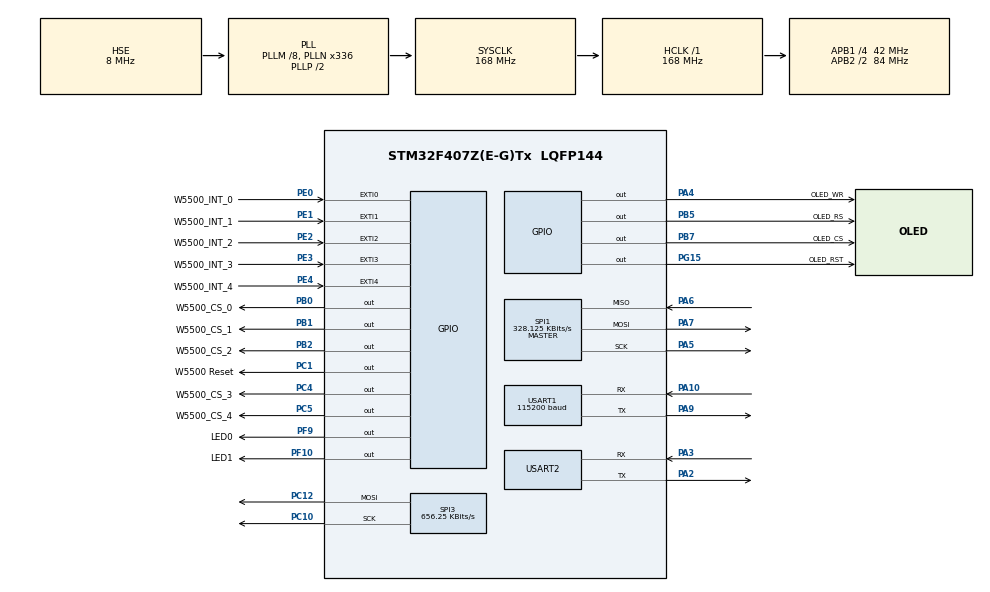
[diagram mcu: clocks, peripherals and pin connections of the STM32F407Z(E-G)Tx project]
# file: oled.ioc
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Dma.Request0=USART1_TX
Dma.Request1=SPI1_RX
Dma.Request2=SPI1_TX
Dma.Request3=USART1_RX
Dma.SPI1_RX.1.Channel=DMA_CHANNEL_3
Dma.SPI1_RX.1.Direction=DMA_PERIPH_TO_MEMORY
Dma.SPI1_RX.1.FIFOMode=DMA_FIFOMODE_DISABLE
Dma.SPI1_RX.1.FIFOThreshold=DMA_FIFO_THRESHOLD_FULL
Dma.SPI1_RX.1.Instance=DMA2_Stream0
Dma.SPI1_RX.1.MemBurst=DMA_MBURST_SINGLE
Dma.SPI1_RX.1.MemDataAlignment=DMA_MDATAALIGN_BYTE
Dma.SPI1_RX.1.MemInc=DMA_MINC_ENABLE
Dma.SPI1_RX.1.Mode=DMA_NORMAL
Dma.SPI1_RX.1.PeriphBurst=DMA_PBURST_SINGLE
Dma.SPI1_RX.1.PeriphDataAlignment=DMA_PDATAALIGN_BYTE
Dma.SPI1_RX.1.PeriphInc=DMA_PINC_DISABLE
Dma.SPI1_RX.1.Priority=DMA_PRIORITY_LOW
Dma.SPI1_TX.2.Channel=DMA_CHANNEL_3
Dma.SPI1_TX.2.Direction=DMA_MEMORY_TO_PERIPH
Dma.SPI1_TX.2.FIFOMode=DMA_FIFOMODE_DISABLE
Dma.SPI1_TX.2.FIFOThreshold=DMA_FIFO_THRESHOLD_FULL
Dma.SPI1_TX.2.Instance=DMA2_Stream3
Dma.SPI1_TX.2.MemBurst=DMA_MBURST_SINGLE
Dma.SPI1_TX.2.MemDataAlignment=DMA_MDATAALIGN_BYTE
Dma.SPI1_TX.2.MemInc=DMA_MINC_ENABLE
Dma.SPI1_TX.2.Mode=DMA_NORMAL
Dma.SPI1_TX.2.PeriphBurst=DMA_PBURST_SINGLE
Dma.SPI1_TX.2.PeriphDataAlignment=DMA_PDATAALIGN_BYTE
Dma.SPI1_TX.2.PeriphInc=DMA_PINC_DISABLE
Dma.SPI1_TX.2.Priority=DMA_PRIORITY_LOW
Dma.USART1_RX.3.Channel=DMA_CHANNEL_4
Dma.USART1_RX.3.Direction=DMA_PERIPH_TO_MEMORY
Dma.USART1_RX.3.FIFOMode=DMA_FIFOMODE_DISABLE
Dma.USART1_RX.3.FIFOThreshold=DMA_FIFO_THRESHOLD_FULL
Dma.USART1_RX.3.Instance=DMA2_Stream2
Dma.USART1_RX.3.MemBurst=DMA_MBURST_SINGLE
Dma.USART1_RX.3.MemDataAlignment=DMA_MDATAALIGN_BYTE
Dma.USART1_RX.3.MemInc=DMA_MINC_ENABLE
Dma.USART1_RX.3.Mode=DMA_NORMAL
Dma.USART1_RX.3.PeriphBurst=DMA_PBURST_SINGLE
Dma.USART1_RX.3.PeriphDataAlignment=DMA_PDATAALIGN_BYTE
Dma.USART1_RX.3.PeriphInc=DMA_PINC_DISABLE
Dma.USART1_RX.3.Priority=DMA_PRIORITY_LOW
Dma.USART1_TX.0.Channel=DMA_CHANNEL_4
Dma.USART1_TX.0.Direction=DMA_MEMORY_TO_PERIPH
Dma.USART1_TX.0.FIFOMode=DMA_FIFOMODE_DISABLE
Dma.USART1_TX.0.FIFOThreshold=DMA_FIFO_THRESHOLD_FULL
Dma.USART1_TX.0.Instance=DMA2_Stream7
Dma.USART1_TX.0.MemBurst=DMA_MBURST_SINGLE
Dma.USART1_TX.0.MemDataAlignment=DMA_MDATAALIGN_BYTE
Dma.USART1_TX.0.MemInc=DMA_MINC_ENABLE
Dma.USART1_TX.0.Mode=DMA_NORMAL
Dma.USART1_TX.0.PeriphBurst=DMA_PBURST_SINGLE
Dma.USART1_TX.0.PeriphDataAlignment=DMA_PDATAALIGN_BYTE
Dma.USART1_TX.0.PeriphInc=DMA_PINC_DISABLE
Dma.USART1_TX.0.Priority=DMA_PRIORITY_LOW
FREERTOS.BinarySemaphores01=semW5500TxCplt;semW5500RxCplt;semEthSpiIdle;semEth0Int;semEth1Int;semEth2Int;semEth3Int;semEth4Int
FREERTOS.HEAP_NUMBER=2
FREERTOS.Queues01=qUart1,5,uint32_t,NULL;qUart2,5,uint32_t,NULL
FREERTOS.Tasks01=defaultTask,0,128,StartDefaultTask;uart1Task,0,512,StartTaskUart1;ethInitTask,3,128,StartEthInitTask;eth0TransTask,0,256,StartEth0TransTask;eth1TransTask,0,256,StartEth1TransTask;eth2TransTask,0,256,StartEth2TransTask;eth3TransTask,0,256,StartEth3TransTask;eth4TransTask,0,256,StartEth4TransTask
FREERTOS.configMINIMAL_STACK_SIZE=64
FREERTOS.configTICK_RATE_HZ=200
FREERTOS.configTOTAL_HEAP_SIZE=100000
Mcu.Family=STM32F4
Mcu.Name=STM32F407Z(E-G)Tx
Mcu.Package=LQFP144
NVIC.DMA2_Stream0_IRQn=true\:5\:0\:false
NVIC.DMA2_Stream2_IRQn=true\:5\:0\:false
NVIC.DMA2_Stream3_IRQn=true\:5\:0\:false
NVIC.DMA2_Stream7_IRQn=true\:5\:0\:false
NVIC.EXTI0_IRQn=true\:5\:0\:false
NVIC.EXTI1_IRQn=true\:5\:0\:false
NVIC.EXTI2_IRQn=true\:5\:0\:false
NVIC.EXTI3_IRQn=true\:5\:0\:false
NVIC.EXTI4_IRQn=true\:5\:0\:false
NVIC.PriorityGroup=NVIC_PRIORITYGROUP_4
NVIC.SPI1_IRQn=true\:5\:0\:false
NVIC.USART1_IRQn=true\:5\:0\:true
NVIC.USART2_IRQn=true\:5\:0\:false
PA10.Mode=Asynchronous
PA10.Signal=USART1_RX
PA13.Mode=Trace-Asynchronous_SW
PA13.Signal=SYS_JTMS-SWDIO
PA14.Mode=Trace-Asynchronous_SW
PA14.Signal=SYS_JTCK-SWCLK
PA2.Mode=Asynchronous
PA2.Signal=USART2_TX
PA3.Mode=Asynchronous
PA3.Signal=USART2_RX
PA4.GPIO_Label=OLED_WR
PA4.GPIO_ModeDefaultOutputPP=GPIO_MODE_OUTPUT_PP
PA4.GPIO_PuPd=GPIO_NOPULL
PA4.GPIO_Speed=GPIO_SPEED_LOW
PA4.Signal=GPIO_Output
PA5.Mode=Full_Duplex_Master
PA5.Signal=SPI1_SCK
PA6.Mode=Full_Duplex_Master
PA6.Signal=SPI1_MISO
PA7.Mode=Full_Duplex_Master
PA7.Signal=SPI1_MOSI
PA9.Mode=Asynchronous
PA9.Signal=USART1_TX
PB0.GPIO_Label=W5500_CS_0
PB0.GPIO_ModeDefaultOutputPP=GPIO_MODE_OUTPUT_PP
PB0.GPIO_PuPd=GPIO_NOPULL
PB0.GPIO_Speed=GPIO_SPEED_LOW
PB0.Signal=GPIO_Output
PB1.GPIO_Label=W5500_CS_1
PB1.GPIO_ModeDefaultOutputPP=GPIO_MODE_OUTPUT_PP
PB1.GPIO_PuPd=GPIO_NOPULL
PB1.GPIO_Speed=GPIO_SPEED_LOW
PB1.Signal=GPIO_Output
PB2.GPIO_Label=W5500_CS_2
PB2.GPIO_ModeDefaultOutputPP=GPIO_MODE_OUTPUT_PP
PB2.GPIO_PuPd=GPIO_NOPULL
PB2.GPIO_Speed=GPIO_SPEED_LOW
PB2.Signal=GPIO_Output
PB3.Mode=Trace-Asynchronous_SW
PB3.Signal=SYS_JTDO-SWO
PB5.GPIO_Label=OLED_RS
PB5.GPIO_ModeDefaultOutputPP=GPIO_MODE_OUTPUT_PP
PB5.GPIO_PuPd=GPIO_PULLUP
PB5.GPIO_Speed=GPIO_SPEED_FAST
PB5.Signal=GPIO_Output
PB7.GPIO_Label=OLED_CS
PB7.GPIO_ModeDefaultOutputPP=GPIO_MODE_OUTPUT_PP
PB7.GPIO_PuPd=GPIO_PULLUP
PB7.GPIO_Speed=GPIO_SPEED_HIGH
PB7.Signal=GPIO_Output
PC1.GPIO_Label=W5500 Reset
PC1.GPIO_ModeDefaultOutputPP=GPIO_MODE_OUTPUT_PP
PC1.GPIO_PuPd=GPIO_PULLUP
PC1.GPIO_Speed=GPIO_SPEED_LOW
PC1.Signal=GPIO_Output
PC10.Mode=TX_Only_Simplex_Unidirect_Master
PC10.Signal=SPI3_SCK
PC12.Mode=TX_Only_Simplex_Unidirect_Master
PC12.Signal=SPI3_MOSI
PC14-OSC32_IN.Mode=LSE-External-Oscillator
PC14-OSC32_IN.Signal=RCC_OSC32_IN
PC15-OSC32_OUT.Mode=LSE-External-Oscillator
PC15-OSC32_OUT.Signal=RCC_OSC32_OUT
PC4.GPIO_Label=W5500_CS_3
PC4.GPIO_ModeDefaultOutputPP=GPIO_MODE_OUTPUT_PP
PC4.GPIO_PuPd=GPIO_NOPULL
PC4.GPIO_Speed=GPIO_SPEED_LOW
PC4.Signal=GPIO_Output
PC5.GPIO_Label=W5500_CS_4
PC5.GPIO_ModeDefaultOutputPP=GPIO_MODE_OUTPUT_PP
PC5.GPIO_PuPd=GPIO_NOPULL
PC5.GPIO_Speed=GPIO_SPEED_LOW
PC5.Signal=GPIO_Output
PE0.GPIO_Label=W5500_INT_0
PE0.GPIO_ModeDefaultEXTI=GPIO_MODE_IT_FALLING
PE0.GPIO_PuPd=GPIO_PULLUP
PE0.Signal=GPXTI0
PE1.GPIO_Label=W5500_INT_1
PE1.GPIO_ModeDefaultEXTI=GPIO_MODE_IT_FALLING
PE1.GPIO_PuPd=GPIO_PULLUP
PE1.Signal=GPXTI1
PE2.GPIO_Label=W5500_INT_2
PE2.GPIO_ModeDefaultEXTI=GPIO_MODE_IT_FALLING
PE2.GPIO_PuPd=GPIO_PULLUP
PE2.Signal=GPXTI2
PE3.GPIO_Label=W5500_INT_3
PE3.GPIO_ModeDefaultEXTI=GPIO_MODE_IT_FALLING
PE3.GPIO_PuPd=GPIO_PULLUP
PE3.Signal=GPXTI3
PE4.GPIO_Label=W5500_INT_4
PE4.GPIO_ModeDefaultEXTI=GPIO_MODE_IT_FALLING
PE4.GPIO_PuPd=GPIO_PULLUP
PE4.Signal=GPXTI4
PF10.GPIO_Label=LED1
PF10.GPIO_ModeDefaultOutputPP=GPIO_MODE_OUTPUT_PP
PF10.GPIO_PuPd=GPIO_PULLUP
PF10.GPIO_Speed=GPIO_SPEED_HIGH
PF10.Signal=GPIO_Output
PF9.GPIO_Label=LED0
PF9.GPIO_ModeDefaultOutputPP=GPIO_MODE_OUTPUT_PP
PF9.GPIO_PuPd=GPIO_PULLUP
PF9.GPIO_Speed=GPIO_SPEED_HIGH
PF9.Signal=GPIO_Output
PG15.GPIO_Label=OLED_RST
PG15.GPIO_ModeDefaultOutputPP=GPIO_MODE_OUTPUT_PP
PG15.GPIO_PuPd=GPIO_PULLUP
PG15.GPIO_Speed=GPIO_SPEED_HIGH
PG15.Signal=GPIO_Output
PH0-OSC_IN.Mode=HSE-External-Oscillator
PH0-OSC_IN.Signal=RCC_OSC_IN
PH1-OSC_OUT.Mode=HSE-External-Oscillator
PH1-OSC_OUT.Signal=RCC_OSC_OUT
ProjectManager.TargetToolchain=EWARM
RCC.48MHZClocksFreq_Value=48000000
RCC.AHBFreq_Value=168000000
RCC.APB1CLKDivider=RCC_HCLK_DIV4
RCC.APB1Freq_Value=42000000
RCC.APB1TimFreq_Value=84000000
RCC.APB2CLKDivider=RCC_HCLK_DIV2
RCC.APB2Freq_Value=84000000
RCC.APB2TimFreq_Value=168000000
RCC.CortexFreq_Value=168000000
RCC.HCLKFreq_Value=168000000
RCC.HSE_VALUE=8000000
RCC.HSI_VALUE=16000000
RCC.PLLM=8
RCC.PLLN=336
RCC.PLLQ=7
RCC.PLLSourceVirtual=RCC_PLLSOURCE_HSE
RCC.RCC_RTC_Clock_SourceVirtual=RCC_RTCCLKSOURCE_LSE
RCC.SYSCLKFreq_VALUE=168000000
RCC.SYSCLKSource=RCC_SYSCLKSOURCE_PLLCLK
RCC.VCOOutputFreq_Value=336000000
SPI1.BaudRatePrescaler=SPI_BAUDRATEPRESCALER_256
SPI1.CalculateBaudRate=328.125 KBits/s
SPI1.Mode=SPI_MODE_MASTER
SPI3.BaudRatePrescaler=SPI_BAUDRATEPRESCALER_64
SPI3.CLKPhase=SPI_PHASE_2EDGE
SPI3.CLKPolarity=SPI_POLARITY_HIGH
SPI3.CalculateBaudRate=656.25 KBits/s
SPI3.Mode=SPI_MODE_MASTER
USART1.BaudRate=115200
VP_CRC_VS_CRC.Mode=CRC_Activate
VP_FREERTOS_VS_ENABLE.Mode=Enabled
board=oled

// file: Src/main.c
/**
  ******************************************************************************
  * File Name          : main.c
  * Description        : Main program body
  ******************************************************************************
  *
  * COPYRIGHT(c) 2015 STMicroelectronics
  *
  * Redistribution and use in source and binary forms, with or without modification,
  * are permitted provided that the following conditions are met:
  *   1. Redistributions of source code must retain the above copyright notice,
  *      this list of conditions and the following disclaimer.
  *   2. Redistributions in binary form must reproduce the above copyright notice,
  *      this list of conditions and the following disclaimer in the documentation
  *      and/or other materials provided with the distribution.
  *   3. Neither the name of STMicroelectronics nor the names of its contributors
  *      may be used to endorse or promote products derived from this software
  *      without specific prior written permission.
  *
  * THIS SOFTWARE IS PROVIDED BY THE COPYRIGHT HOLDERS AND CONTRIBUTORS "AS IS"
  * AND ANY EXPRESS OR IMPLIED WARRANTIES, INCLUDING, BUT NOT LIMITED TO, THE
  * IMPLIED WARRANTIES OF MERCHANTABILITY AND FITNESS FOR A PARTICULAR PURPOSE ARE
  * DISCLAIMED. IN NO EVENT SHALL THE COPYRIGHT HOLDER OR CONTRIBUTORS BE LIABLE
  * FOR ANY DIRECT, INDIRECT, INCIDENTAL, SPECIAL, EXEMPLARY, OR CONSEQUENTIAL
  * DAMAGES (INCLUDING, BUT NOT LIMITED TO, PROCUREMENT OF SUBSTITUTE GOODS OR
  * SERVICES; LOSS OF USE, DATA, OR PROFITS; OR BUSINESS INTERRUPTION) HOWEVER
  * CAUSED AND ON ANY THEORY OF LIABILITY, WHETHER IN CONTRACT, STRICT LIABILITY,
  * OR TORT (INCLUDING NEGLIGENCE OR OTHERWISE) ARISING IN ANY WAY OUT OF THE USE
  * OF THIS SOFTWARE, EVEN IF ADVISED OF THE POSSIBILITY OF SUCH DAMAGE.
  *
  ******************************************************************************
  */
#include "stm32f4xx_hal.h"
#include "cmsis_os.h"
#include "crc.h"
#include "dma.h"
#include "spi.h"
#include "usart.h"
#include "gpio.h"

/* USER CODE BEGIN Includes */
#include "configuration_manager.h"
#include "sim900a.h"
#include "debug.h"
/* USER CODE END Includes */

/* USER CODE BEGIN PV */
/* Private variables ---------------------------------------------------------*/

/* USER CODE END PV */

void SystemClock_Config(void);
void MX_FREERTOS_Init(void);

/* USER CODE BEGIN PFP */
/* Private function prototypes -----------------------------------------------*/

/* USER CODE END PFP */

int main(void)
{

  /* USER CODE BEGIN 1 */
	uint32_t cpuid0 = SCB->CPUID;
	uint32_t cpuid1 = SCB->CPUID;
	uint32_t cpuid2 = SCB->CPUID;
	uint32_t cpuid3 = SCB->CPUID;
	uint32_t cpuid4 = SCB->CPUID;
	uint32_t cpuid5 = SCB->CPUID;
	uint32_t cpuid6 = SCB->CPUID;
	uint32_t cpuid7 = SCB->CPUID;
	uint32_t cpuid8 = SCB->CPUID;
	uint32_t cpuid9 = SCB->CPUID;
	uint32_t cpuid10 = SCB->CPUID;
	uint32_t cpuid11 = SCB->CPUID;
  /* USER CODE END 1 */

  /* MCU Configuration----------------------------------------------------------*/

  /* Reset of all peripherals, Initializes the Flash interface and the Systick. */
  HAL_Init();

  /* Configure the system clock */
  SystemClock_Config();

  /* Initialize all configured peripherals */
  MX_GPIO_Init();
  MX_DMA_Init();
  MX_CRC_Init();
  MX_SPI1_Init();
  MX_SPI3_Init();
  MX_USART1_UART_Init();
  MX_USART2_UART_Init();

  /* USER CODE BEGIN 2 */

  printk("Startup, loading parameters...\r\n");
  // Save test configs to the internal flash.......
	SystemConfig.DutyRoomNumber = 18600322781;
	SystemConfig.WatchKeeper1 = 13550275765;
	SystemConfig.WatchKeeper2 = 18080427070;
//	SystemConfig.Mac[0] = 0x0;
//	SystemConfig.Mac[1] = 0x08;
//	SystemConfig.Mac[2] = 0xdc;
//	SystemConfig.Mac[3] = 0x00;
//	SystemConfig.Mac[4] = 0x00;
//	SystemConfig.Mac[5] = 0x01;
//	SystemConfig.IP = {192, 168, 2, 110};
//	SystemConfig.SubMask = {255, 255, 255, 0};
//	SystemConfig.Dns = {0, 0, 0, 0};
//	SystemConfig.Gateway = {192, 168, 2, 1};

	//SaveConfiguration();

	ReadConfiguration();

  /* USER CODE END 2 */

  /* Call init function for freertos objects (in freertos.c) */
  MX_FREERTOS_Init();

  /* Start scheduler */
  osKernelStart();

  /* We should never get here as control is now taken by the scheduler */

  /* Infinite loop */
  while (1)
  {

  }

}

/** System Clock Configuration
*/
void SystemClock_Config(void)
{

  RCC_OscInitTypeDef RCC_OscInitStruct;
  RCC_ClkInitTypeDef RCC_ClkInitStruct;

  __PWR_CLK_ENABLE();

  __HAL_PWR_VOLTAGESCALING_CONFIG(PWR_REGULATOR_VOLTAGE_SCALE1);

  RCC_OscInitStruct.OscillatorType = RCC_OSCILLATORTYPE_HSE;
  RCC_OscInitStruct.HSEState = RCC_HSE_ON;
  RCC_OscInitStruct.PLL.PLLState = RCC_PLL_ON;
  RCC_OscInitStruct.PLL.PLLSource = RCC_PLLSOURCE_HSE;
  RCC_OscInitStruct.PLL.PLLM = 8;
  RCC_OscInitStruct.PLL.PLLN = 336;
  RCC_OscInitStruct.PLL.PLLP = RCC_PLLP_DIV2;
  RCC_OscInitStruct.PLL.PLLQ = 7;
  HAL_RCC_OscConfig(&RCC_OscInitStruct);

  RCC_ClkInitStruct.ClockType = RCC_CLOCKTYPE_SYSCLK|RCC_CLOCKTYPE_PCLK1
                              |RCC_CLOCKTYPE_PCLK2;
  RCC_ClkInitStruct.SYSCLKSource = RCC_SYSCLKSOURCE_PLLCLK;
  RCC_ClkInitStruct.AHBCLKDivider = RCC_SYSCLK_DIV1;
  RCC_ClkInitStruct.APB1CLKDivider = RCC_HCLK_DIV4;
  RCC_ClkInitStruct.APB2CLKDivider = RCC_HCLK_DIV2;
  HAL_RCC_ClockConfig(&RCC_ClkInitStruct, FLASH_LATENCY_5);

  HAL_SYSTICK_Config(HAL_RCC_GetHCLKFreq()/1000);

  HAL_SYSTICK_CLKSourceConfig(SYSTICK_CLKSOURCE_HCLK);

  /* SysTick_IRQn interrupt configuration */
  HAL_NVIC_SetPriority(SysTick_IRQn, 0, 0);
}

/************************ (C) COPYRIGHT STMicroelectronics *****END OF FILE****/

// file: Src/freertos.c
/**
  ******************************************************************************
  * File Name          : freertos.c
  * Description        : Code for freertos applications
  ******************************************************************************
  *
  * COPYRIGHT(c) 2015 STMicroelectronics
  *
  * Redistribution and use in source and binary forms, with or without modification,
  * are permitted provided that the following conditions are met:
  *   1. Redistributions of source code must retain the above copyright notice,
  *      this list of conditions and the following disclaimer.
  *   2. Redistributions in binary form must reproduce the above copyright notice,
  *      this list of conditions and the following disclaimer in the documentation
  *      and/or other materials provided with the distribution.
  *   3. Neither the name of STMicroelectronics nor the names of its contributors
  *      may be used to endorse or promote products derived from this software
  *      without specific prior written permission.
  *
  * THIS SOFTWARE IS PROVIDED BY THE COPYRIGHT HOLDERS AND CONTRIBUTORS "AS IS"
  * AND ANY EXPRESS OR IMPLIED WARRANTIES, INCLUDING, BUT NOT LIMITED TO, THE
  * IMPLIED WARRANTIES OF MERCHANTABILITY AND FITNESS FOR A PARTICULAR PURPOSE ARE
  * DISCLAIMED. IN NO EVENT SHALL THE COPYRIGHT HOLDER OR CONTRIBUTORS BE LIABLE
  * FOR ANY DIRECT, INDIRECT, INCIDENTAL, SPECIAL, EXEMPLARY, OR CONSEQUENTIAL
  * DAMAGES (INCLUDING, BUT NOT LIMITED TO, PROCUREMENT OF SUBSTITUTE GOODS OR
  * SERVICES; LOSS OF USE, DATA, OR PROFITS; OR BUSINESS INTERRUPTION) HOWEVER
  * CAUSED AND ON ANY THEORY OF LIABILITY, WHETHER IN CONTRACT, STRICT LIABILITY,
  * OR TORT (INCLUDING NEGLIGENCE OR OTHERWISE) ARISING IN ANY WAY OUT OF THE USE
  * OF THIS SOFTWARE, EVEN IF ADVISED OF THE POSSIBILITY OF SUCH DAMAGE.
  *
  ******************************************************************************
  */

#include "FreeRTOS.h"
#include "task.h"
#include "cmsis_os.h"

/* USER CODE BEGIN Includes */
#include <stdlib.h>
#include <string.h>
#include "oled.h"
#include "icons.h"
#include "gpio.h"
#include "admin_interface.h"
#include "ethernet_common.h"
#include "debug.h"
#include "socket.h"
#include "wizchip_conf.h"
#include "loopback.h"
/* USER CODE END Includes */

osThreadId defaultTaskHandle;
osThreadId uart1TaskHandle;
osThreadId ethInitTaskHandle;
osThreadId eth0TransTaskHandle;
osThreadId eth1TransTaskHandle;
osThreadId eth2TransTaskHandle;
osThreadId eth3TransTaskHandle;
osThreadId eth4TransTaskHandle;
osMessageQId qUart1Handle;
osMessageQId qUart2Handle;
osSemaphoreId semW5500TxCpltHandle;
osSemaphoreId semW5500RxCpltHandle;
osSemaphoreId semEthSpiIdleHandle;
osSemaphoreId semEth0IntHandle;
osSemaphoreId semEth1IntHandle;
osSemaphoreId semEth2IntHandle;
osSemaphoreId semEth3IntHandle;
osSemaphoreId semEth4IntHandle;

/* USER CODE BEGIN Variables */
////////////////////////////////////////////////
// Shared Buffer Definition for LOOPBACK TEST //
////////////////////////////////////////////////
#define DATA_BUF_SIZE   2048
uint8_t gDATABUF[DATA_BUF_SIZE];
/* USER CODE END Variables */

void StartDefaultTask(void const * argument);
void StartTaskUart1(void const * argument);
void StartEthInitTask(void const * argument);
void StartEth0TransTask(void const * argument);
void StartEth1TransTask(void const * argument);
void StartEth2TransTask(void const * argument);
void StartEth3TransTask(void const * argument);
void StartEth4TransTask(void const * argument);

void MX_FREERTOS_Init(void); /* (MISRA C 2004 rule 8.1) */

/* Hook prototypes */

/* Init FreeRTOS */

void MX_FREERTOS_Init(void) {

  /* Create the semaphores(s) */
  /* definition and creation of semW5500TxCplt */
  osSemaphoreDef(semW5500TxCplt);
  semW5500TxCpltHandle = osSemaphoreCreate(osSemaphore(semW5500TxCplt), 1);

  /* definition and creation of semW5500RxCplt */
  osSemaphoreDef(semW5500RxCplt);
  semW5500RxCpltHandle = osSemaphoreCreate(osSemaphore(semW5500RxCplt), 1);

  /* definition and creation of semEthSpiIdle */
  osSemaphoreDef(semEthSpiIdle);
  semEthSpiIdleHandle = osSemaphoreCreate(osSemaphore(semEthSpiIdle), 1);

  /* definition and creation of semEth0Int */
  osSemaphoreDef(semEth0Int);
  semEth0IntHandle = osSemaphoreCreate(osSemaphore(semEth0Int), 1);

  /* definition and creation of semEth1Int */
  osSemaphoreDef(semEth1Int);
  semEth1IntHandle = osSemaphoreCreate(osSemaphore(semEth1Int), 1);

  /* definition and creation of semEth2Int */
  osSemaphoreDef(semEth2Int);
  semEth2IntHandle = osSemaphoreCreate(osSemaphore(semEth2Int), 1);

  /* definition and creation of semEth3Int */
  osSemaphoreDef(semEth3Int);
  semEth3IntHandle = osSemaphoreCreate(osSemaphore(semEth3Int), 1);

  /* definition and creation of semEth4Int */
  osSemaphoreDef(semEth4Int);
  semEth4IntHandle = osSemaphoreCreate(osSemaphore(semEth4Int), 1);

  /* USER CODE BEGIN RTOS_SEMAPHORES */
  // Clear the semaphores
  osSemaphoreWait(semEth0IntHandle, osWaitForever);
  osSemaphoreWait(semW5500TxCpltHandle, osWaitForever);
  osSemaphoreWait(semW5500RxCpltHandle, osWaitForever);
	osSemaphoreWait(semEthSpiIdleHandle, osWaitForever);
  /* add semaphores, ... */
  /* USER CODE END RTOS_SEMAPHORES */

  /* Create the thread(s) */
  /* definition and creation of defaultTask */
  osThreadDef(defaultTask, StartDefaultTask, osPriorityNormal, 0, 128);
  defaultTaskHandle = osThreadCreate(osThread(defaultTask), NULL);

  /* definition and creation of uart1Task */
  osThreadDef(uart1Task, StartTaskUart1, osPriorityNormal, 0, 512);
  uart1TaskHandle = osThreadCreate(osThread(uart1Task), NULL);

  /* definition and creation of ethInitTask */
  osThreadDef(ethInitTask, StartEthInitTask, osPriorityRealtime, 0, 128);
  ethInitTaskHandle = osThreadCreate(osThread(ethInitTask), NULL);

  /* definition and creation of eth0TransTask */
  osThreadDef(eth0TransTask, StartEth0TransTask, osPriorityNormal, 0, 256);
  eth0TransTaskHandle = osThreadCreate(osThread(eth0TransTask), NULL);

  /* definition and creation of eth1TransTask */
  osThreadDef(eth1TransTask, StartEth1TransTask, osPriorityNormal, 0, 256);
  eth1TransTaskHandle = osThreadCreate(osThread(eth1TransTask), NULL);

  /* definition and creation of eth2TransTask */
  osThreadDef(eth2TransTask, StartEth2TransTask, osPriorityNormal, 0, 256);
  eth2TransTaskHandle = osThreadCreate(osThread(eth2TransTask), NULL);

  /* definition and creation of eth3TransTask */
  osThreadDef(eth3TransTask, StartEth3TransTask, osPriorityNormal, 0, 256);
  eth3TransTaskHandle = osThreadCreate(osThread(eth3TransTask), NULL);

  /* definition and creation of eth4TransTask */
  osThreadDef(eth4TransTask, StartEth4TransTask, osPriorityNormal, 0, 256);
  eth4TransTaskHandle = osThreadCreate(osThread(eth4TransTask), NULL);

  /* Create the queue(s) */
  /* definition and creation of qUart1 */
  osMessageQDef(qUart1, 5, uint32_t);
  qUart1Handle = osMessageCreate(osMessageQ(qUart1), NULL);

  /* definition and creation of qUart2 */
  osMessageQDef(qUart2, 5, uint32_t);
  qUart2Handle = osMessageCreate(osMessageQ(qUart2), NULL);

}

/* StartDefaultTask function */
void StartDefaultTask(void const * argument)
{

  /* USER CODE BEGIN StartDefaultTask */

  OLED_Init();
//  OLED_ShowString(0,0,"123",24);
//	OLED_ShowString(0,24, "0.96' OLED TEST",16);
// 	OLED_ShowString(0,40,"ATOM 2014/5/4",12);
// 	OLED_ShowString(0,52,"ASCII:",12);
// 	OLED_ShowString(64,52,"CODE:",12);
  OLED_ShowIcon(0, 0, signal_none);
  OLED_Refresh_Gram();//更新显示到OLED

  /* Infinite loop */
  for(;;)
  {
    osDelay(1000);
    HAL_GPIO_WritePin(GPIOF, GPIO_PIN_10, GPIO_PIN_RESET);
    osDelay(5);
    HAL_GPIO_WritePin(GPIOF, GPIO_PIN_10, GPIO_PIN_SET);
  }
  /* USER CODE END StartDefaultTask */
}

/* StartTaskUart1 function */
void StartTaskUart1(void const * argument)
{
  /* USER CODE BEGIN StartTaskUart1 */
	static uint8_t *pcommand;
	static CommandTypeDef parsedcommand;
	aifStatus retval_parsecmd;

	// Initial the Admin Interface
	InitAdminManagementInterface();

  /* Infinite loop */
  for(;;)
  {
		// Wait for a message from the Uart1 ISR
		//printk("  Wait for next command....\r\n");
		WaitForCommand(&pcommand);
		//printk("  Parse command...\r\n");
		//printk("Command: %s\r\n", (uint8_t*)pCommand);

		retval_parsecmd = ParseCommand(pcommand, &parsedcommand);
		//printk("  Command parsed!\r\n");

		if(retval_parsecmd == aifOK)
		{
			ExcuteCommand(&parsedcommand);
			HAL_GPIO_WritePin(GPIOF, GPIO_PIN_9, GPIO_PIN_RESET);
			osDelay(5);
			HAL_GPIO_WritePin(GPIOF, GPIO_PIN_9, GPIO_PIN_SET);
		}
		else
		{

			//printk("Command parsing error: %d\r\n", retval_parsecmd);

			HAL_GPIO_WritePin(GPIOF, GPIO_PIN_9, GPIO_PIN_RESET);
			osDelay(5);
			HAL_GPIO_WritePin(GPIOF, GPIO_PIN_9, GPIO_PIN_SET);
			osDelay(10);
			HAL_GPIO_WritePin(GPIOF, GPIO_PIN_9, GPIO_PIN_RESET);
			osDelay(5);
			HAL_GPIO_WritePin(GPIOF, GPIO_PIN_9, GPIO_PIN_SET);
		}
  }
  /* USER CODE END StartTaskUart1 */
}

/* StartEthInitTask function */
void StartEthInitTask(void const * argument)
{
  /* USER CODE BEGIN StartEthInitTask */

  // hardware reset all w5500 modules
	HardwareResetAllChips();

  // Inititalize the network of ethernet modules
  InitEternetInterface(W5500_0);
  InitEternetInterface(W5500_1);

	printk("StartEthInitTask has been terminated\r\n");
	osThreadTerminate(NULL);

  /* Infinite loop */
  for(;;)
  {
    osDelay(100);
  }
  /* USER CODE END StartEthInitTask */
}

/* StartEth0TransTask function */
void StartEth0TransTask(void const * argument)
{
  /* USER CODE BEGIN StartEth0TransTask */
  osStatus sem_retval;

  /* Infinite loop */
  for(;;)
  {
    // Await the data reception interruption...
		sem_retval = osSemaphoreWait(semEth0IntHandle, osWaitForever);
    if(sem_retval == osOK)
    {
      // If the Spi bus is busy, await the semphore...
      sem_retval = osSemaphoreWait(semEthSpiIdleHandle, osWaitForever);
      if(sem_retval == osOK)
      {

      }
    }
  }
  /* USER CODE END StartEth0TransTask */
}

/* StartEth1TransTask function */
void StartEth1TransTask(void const * argument)
{
  /* USER CODE BEGIN StartEth1TransTask */
  osStatus sem_retval;

  /* Infinite loop */
  for(;;)
  {
    // Await the data reception interruption...
		sem_retval = osSemaphoreWait(semEth1IntHandle, osWaitForever);
    if(sem_retval == osOK)
    {
      // If the Spi bus is busy, await the semphore...
      sem_retval = osSemaphoreWait(semEthSpiIdleHandle, osWaitForever);
      if(sem_retval == osOK)
      {

      }
    }
  }
  /* USER CODE END StartEth1TransTask */
}

/* StartEth2TransTask function */
void StartEth2TransTask(void const * argument)
{
  for(;;)
  {
    osDelay(1);
  }
}

/* StartEth3TransTask function */
void StartEth3TransTask(void const * argument)
{
  for(;;)
  {
    osDelay(1);
  }
}

/* StartEth4TransTask function */
void StartEth4TransTask(void const * argument)
{
  for(;;)
  {
    osDelay(1);
  }
}

/************************ (C) COPYRIGHT STMicroelectronics *****END OF FILE****/
